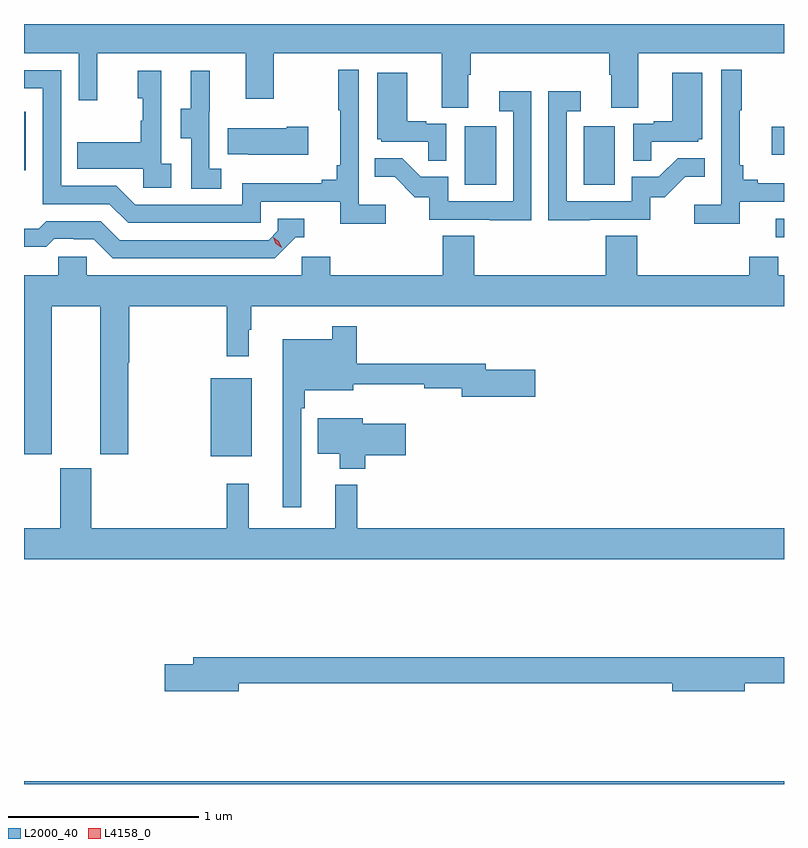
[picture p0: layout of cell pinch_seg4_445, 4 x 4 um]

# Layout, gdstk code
import gdstk
lib = gdstk.Library(unit=1e-6, precision=1e-09)
def R(c, l, rs):  # rectangles x0, y0, x1, y1
    for r in rs: c.add(gdstk.rectangle(r[:2], r[2:], *l))
def P(c, l, *ps):  # polygons
    for p in ps: c.add(gdstk.Polygon(p, *l))
L2000_40 = (2000, 40)
L4158_0 = (4158, 0)

pinch_seg4_445 = lib.new_cell('pinch_seg4_445')
R(pinch_seg4_445, L2000_40, [(898.749,772.994,902.749,773.008), (899.732,774.719,899.947,775.129), (901.07,776.148,901.234,776.455), (901.694,776.148,901.858,776.455), (898.749,776.223,898.758,776.532), (902.685,776.306,902.749,776.454)])
P(pinch_seg4_445, L2000_40, [(901.087,776.728),(901.1,776.728),(901.1,776.84),(901.829,776.84),(901.829,776.728),(901.841,776.728),(901.841,776.554),(901.981,776.554),(901.981,776.84),(902.749,776.84),(902.749,776.994),(898.749,776.994),(898.749,776.84),(899.037,776.84),(899.037,776.592),(899.135,776.592),(899.135,776.84),(899.915,776.84),(899.915,776.601),(900.063,776.601),(900.063,776.84),(900.947,776.84),(900.947,776.554),(901.087,776.554)],
  [(902.516,776.058),(902.749,776.058),(902.749,776.155),(902.611,776.155),(902.611,776.174),(902.534,776.174),(902.534,776.251),(902.515,776.251),(902.515,776.539),(902.527,776.539),(902.527,776.752),(902.418,776.752),(902.418,776.044),(902.277,776.044),(902.277,775.942),(902.516,775.942)],
  [(900.652,776.044),(900.51,776.044),(900.51,776.752),(900.402,776.752),(900.402,776.539),(900.413,776.539),(900.413,776.251),(900.394,776.251),(900.394,776.174),(900.317,776.174),(900.317,776.155),(899.898,776.155),(899.898,776.043),(899.334,776.043),(899.235,776.142),(898.944,776.142),(898.944,776.751),(898.749,776.751),(898.749,776.655),(898.848,776.655),(898.848,776.046),(899.198,776.046),(899.297,775.947),(899.994,775.947),(899.994,776.058),(900.413,776.058),(900.413,775.942),(900.652,775.942)],
  [(899.524,776.258),(899.472,776.258),(899.472,776.749),(899.348,776.749),(899.348,776.604),(899.374,776.604),(899.374,776.486),(899.364,776.486),(899.364,776.371),(899.029,776.371),(899.029,776.231),(899.376,776.231),(899.376,776.133),(899.524,776.133)],
  [(899.788,776.231),(899.724,776.231),(899.724,776.535),(899.726,776.535),(899.726,776.749),(899.627,776.749),(899.627,776.547),(899.573,776.547),(899.573,776.392),(899.628,776.392),(899.628,776.128),(899.788,776.128)],
  [(902.051,776.373),(902.298,776.373),(902.298,776.388),(902.32,776.388),(902.32,776.737),(902.162,776.737),(902.162,776.482),(902.063,776.482),(902.063,776.469),(901.956,776.469),(901.956,776.275),(902.051,776.275)],
  [(900.972,776.469),(900.866,776.469),(900.866,776.482),(900.766,776.482),(900.766,776.737),(900.608,776.737),(900.608,776.388),(900.63,776.388),(900.63,776.373),(900.877,776.373),(900.877,776.275),(900.972,776.275)],
  [(901.727,775.965),(902.046,775.965),(902.046,776.082),(902.122,776.082),(902.229,776.189),(902.333,776.189),(902.333,776.288),(902.189,776.288),(902.091,776.19),(901.947,776.19),(901.947,776.061),(901.605,776.061),(901.605,776.535),(901.678,776.535),(901.678,776.641),(901.509,776.641),(901.509,775.96),(901.727,775.96)],
  [(901.419,776.641),(901.251,776.641),(901.251,776.535),(901.323,776.535),(901.323,776.061),(900.981,776.061),(900.981,776.19),(900.837,776.19),(900.739,776.288),(900.595,776.288),(900.595,776.189),(900.699,776.189),(900.806,776.082),(900.883,776.082),(900.883,775.965),(901.201,775.965),(901.201,775.96),(901.419,775.96)],
  [(900.244,776.454),(900.131,776.454),(900.131,776.446),(899.821,776.446),(899.821,776.309),(899.929,776.309),(899.929,776.306),(900.244,776.306)],
  [(900.18,775.872),(900.223,775.872),(900.223,775.968),(900.084,775.968),(900.084,775.905),(900.036,775.857),(899.253,775.857),(899.154,775.956),(898.865,775.956),(898.826,775.917),(898.749,775.917),(898.749,775.821),(898.865,775.821),(898.907,775.863),(899.01,775.863),(899.01,775.86),(899.117,775.86),(899.216,775.761),(900.069,775.761)],
  [(902.749,775.968),(902.705,775.968),(902.705,775.872),(902.748,775.872),(902.749,775.871)],
  [(898.894,775.508),(899.15,775.508),(899.15,774.729),(899.298,774.729),(899.298,775.212),(899.303,775.212),(899.303,775.508),(899.815,775.508),(899.815,775.245),(899.932,775.245),(899.932,775.385),(899.944,775.385),(899.944,775.508),(902.749,775.508),(902.749,775.672),(902.718,775.672),(902.718,775.77),(902.567,775.77),(902.567,775.672),(901.976,775.672),(901.976,775.88),(901.811,775.88),(901.811,775.672),(901.118,775.672),(901.118,775.88),(900.953,775.88),(900.953,775.672),(900.362,775.672),(900.362,775.77),(900.21,775.77),(900.21,775.672),(899.079,775.672),(899.079,775.77),(898.929,775.77),(898.929,775.672),(898.749,775.672),(898.749,774.729),(898.894,774.729)],
  [(900.207,774.971),(900.227,774.971),(900.227,775.067),(900.481,775.067),(900.481,775.097),(900.856,775.097),(900.856,775.078),(901.052,775.078),(901.052,775.031),(901.441,775.031),(901.441,775.173),(901.18,775.173),(901.18,775.207),(900.5,775.207),(900.5,775.402),(900.372,775.402),(900.372,775.336),(900.11,775.336),(900.11,774.45),(900.207,774.45)],
  [(900.545,774.724),(900.757,774.724),(900.757,774.889),(900.532,774.889),(900.532,774.919),(900.296,774.919),(900.296,774.731),(900.41,774.731),(900.41,774.653),(900.545,774.653)],
  [(902.749,774.34),(900.503,774.34),(900.503,774.568),(900.386,774.568),(900.386,774.34),(899.933,774.34),(899.933,774.574),(899.815,774.574),(899.815,774.34),(899.104,774.34),(899.104,774.657),(898.94,774.657),(898.94,774.34),(898.749,774.34),(898.749,774.176),(902.749,774.176)],
  [(899.878,773.524),(902.162,773.524),(902.162,773.482),(902.542,773.482),(902.542,773.524),(902.749,773.524),(902.749,773.66),(899.639,773.66),(899.639,773.624),(899.49,773.624),(899.49,773.482),(899.878,773.482)])
P(pinch_seg4_445, L4158_0, [(900.105,775.817),(900.075,775.838),(900.06,775.871),(900.06,775.871),(900.06,775.871),(900.09,775.851),(900.106,775.818),(900.106,775.817)])

lib.write_gds('pinch_seg4_445.gds')
